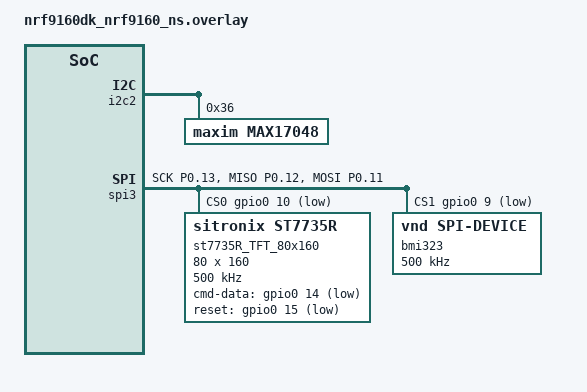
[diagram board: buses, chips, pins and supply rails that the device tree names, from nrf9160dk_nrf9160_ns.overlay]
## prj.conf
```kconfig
# MCUMGR dependencies
CONFIG_NET_BUF=y
CONFIG_ZCBOR=y

# MCU Manager
CONFIG_MCUMGR=y

# Dependencies for IMG and OS groups
CONFIG_STREAM_FLASH=y
CONFIG_FLASH=y
CONFIG_FLASH_MAP=y
CONFIG_IMG_MANAGER=y
CONFIG_BASE64=y

# dfu module dependencies
CONFIG_STREAM_FLASH_ERASE=y

# dfu module
CONFIG_DFU_TARGET=y
CONFIG_DFU_TARGET_MCUBOOT=y

# Test
CONFIG_IMG_MANAGER=y
CONFIG_BOOTLOADER_MCUBOOT=y
CONFIG_MCUBOOT_IMG_MANAGER=y
#CONFIG_IMG_BLOCK_BUF_SIZE=512

# Enable most core commands.
CONFIG_MCUMGR_GRP_IMG=y
CONFIG_MCUMGR_GRP_OS=y

# Enable the serial mcumgr transport.
CONFIG_MCUMGR_TRANSPORT_UART=y

# Some command handlers require a large stack.
CONFIG_SYSTEM_WORKQUEUE_STACK_SIZE=8192
CONFIG_LV_Z_MEM_POOL_NUMBER_BLOCKS=8
CONFIG_MAIN_STACK_SIZE=16384

# For diplay and sensor drivers
CONFIG_DISPLAY=y
CONFIG_SPI=y
CONFIG_ST7735R=y
CONFIG_FUEL_GAUGE=y

# For LVGL library
CONFIG_LVGL=y
CONFIG_LV_MEM_CUSTOM=y
CONFIG_LV_USE_LOG=y
CONFIG_LV_LOG_PRINTF=y
CONFIG_LV_LOG_LEVEL_ERROR=y
CONFIG_LV_USE_LABEL=y
CONFIG_LV_USE_BTN=y
CONFIG_LV_USE_IMG=y
CONFIG_LV_FONT_MONTSERRAT_14=y

CONFIG_LV_Z_BITS_PER_PIXEL=16
CONFIG_LV_COLOR_16_SWAP=y
```

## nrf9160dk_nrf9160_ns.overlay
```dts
/*
 * Overlay file for TD Viking Watch hardware 
 *  - BMI323 Inertial Measurement Unit sensor - Accelerometer and gyroscope
 *  - MAX17048 BAttery fuel gauge sensor
 *  - TFT screen with ST7735S chip
 *  - FT230x USB to UART chip
 */
 / {
	chosen {
		zephyr,display = &st7735R_TFT_80x160;
		maxim,max17048 = &max17048;
	};
 };
 

 &pinctrl {
	uart0_default: uart0_default {
		group1 {
			psels = <NRF_PSEL(UART_TX, 0, 6)>,
				<NRF_PSEL(UART_RTS, 0, 27)>;
		};
		group2 {
			psels = <NRF_PSEL(UART_RX, 0, 5)>,
				<NRF_PSEL(UART_CTS, 0, 26)>;
			bias-pull-up;
		};
	};

	uart0_sleep: uart0_sleep {
		group1 {
			psels = <NRF_PSEL(UART_TX, 0, 6)>,
				<NRF_PSEL(UART_RX, 0, 5)>,
				<NRF_PSEL(UART_RTS, 0, 27)>,
				<NRF_PSEL(UART_CTS, 0, 26)>;
			low-power-enable;
		};
	};

	uart1_default: uart1_default {
		group1 {
			psels = <NRF_PSEL(UART_TX, 0, 6)>,
				<NRF_PSEL(UART_RTS, 0, 14)>;
		};
		group2 {
			psels = <NRF_PSEL(UART_RX, 0, 5)>,
				<NRF_PSEL(UART_CTS, 0, 15)>;
			bias-pull-up;
		};
	};

	uart1_sleep: uart1_sleep {
		group1 {
			psels = <NRF_PSEL(UART_TX, 0, 6)>,
				<NRF_PSEL(UART_RX, 0, 5)>,
				<NRF_PSEL(UART_RTS, 0, 14)>,
				<NRF_PSEL(UART_CTS, 0, 15)>;
			low-power-enable;
		};
	};

	uart2_default: uart2_default {
		group1 {
			psels = <NRF_PSEL(UART_TX, 0, 6)>,
				<NRF_PSEL(UART_RX, 0, 5)>;
		};
	};

	uart2_sleep: uart2_sleep {
		group1 {
			psels = <NRF_PSEL(UART_TX, 0, 6)>,
				<NRF_PSEL(UART_RX, 0, 5)>;
			low-power-enable;
		};
	};

	spi3_default: spi3_default {
		group1 {
			psels = <NRF_PSEL(SPIM_SCK, 0, 13)>,
				<NRF_PSEL(SPIM_MISO, 0, 12)>,
				<NRF_PSEL(SPIM_MOSI, 0, 11)>;
		};
	};

	spi3_sleep: spi3_sleep {
		group1 {
			psels = <NRF_PSEL(SPIM_SCK, 0, 13)>,
				<NRF_PSEL(SPIM_MISO, 0, 12)>,
				<NRF_PSEL(SPIM_MOSI, 0, 11)>;
			low-power-enable;
		};
	};
 };


 &i2c2 {
	status = "okay";
	compatible = "nordic,nrf-twim";
	pinctrl-0 = <&i2c2_default>;
	pinctrl-1 = <&i2c2_sleep>;
	pinctrl-names = "default", "sleep";

	max17048: max17048@36 {
		compatible = "maxim,max17048";
		status = "ok";
		reg = <0x36 >;
	};
};

 &spi3{
	compatible = "nordic,nrf-spim";
	status = "okay";
	cs-gpios = <&gpio0 10 GPIO_ACTIVE_LOW>, <&gpio0 9 GPIO_ACTIVE_LOW>; // 10 is TFT, 9 is IMU.
	pinctrl-0 = <&spi3_default>;
	pinctrl-1 = <&spi3_sleep>;
	pinctrl-names = "default", "sleep";

	st7735R_TFT_80x160: spi_device_1@0 {
		compatible = "sitronix,st7735r";
		spi-max-frequency = <500000>;
		reg = <0>; // gives the first SPI CS line to use, gpio0 10 in this case.
		cmd-data-gpios = <&gpio0 14 GPIO_ACTIVE_LOW>;	
		reset-gpios = <&gpio0 15  GPIO_ACTIVE_LOW>;
		width = <80>;
		height = <160>;
		x-offset = <26>; 
		y-offset = <1>; 
		madctl = <0xC8>;
		colmod = <0x05>;
		caset = [00 00 00 4F];
		raset = [00 00 00 9F];
		vmctr1 = <0x0e>;
		invctr = <0x00>;
		pwctr1 = [a2 02 84];
		pwctr2 = [c5];
		pwctr3 = [0a 00];
		pwctr4 = [8a 2a];
		pwctr5 = [8a ee];
		frmctr1 = [01 2c 2d];
		frmctr2 = [01 2c 2d];
		frmctr3 = [01 2c 2d 01 2c 2d];
		gamctrp1 = [02 1c 07 12 37 32 29 2d 29 25 2b 39 00 01 03 10];
		gamctrn1 = [03 1d 07 06 2e 2c 29 2d 2e 2e 37 3f 00 00 02 10];
        inversion-on;
	};
	
	bmi323: spi_device_2@1 {
		compatible = "vnd,spi-device";
		reg = <1>; // gives the second SPI CS line to use, gpio0 9 in this case.
		spi-max-frequency = <500000>;
		label = "bmi323";
	};

};
```

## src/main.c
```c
/*
 * Copyright (c) 2018 Jan Van Winkel <jan.van_winkel@dxplore.eu>
 *
 * SPDX-License-Identifier: Apache-2.0
 */

#include <zephyr/device.h>
#include <zephyr/drivers/display.h>
#include <lvgl.h>
#include <stdio.h>
#include <string.h>
#include <zephyr/kernel.h> 
#include <zephyr/drivers/gpio.h>
#include <zephyr/logging/log.h>
#include <zephyr/drivers/uart.h>
#include <zephyr/drivers/spi.h>
#include <zephyr/drivers/fuel_gauge.h>
#include <string.h>
#include "max6921.c"

#define LOG_LEVEL CONFIG_LOG_DEFAULT_LEVEL

#define SLEEP_TIME_MS   1000
#define ENABLE_TFT 		4  // PWM and enable for TFT LEDs
//#define ENABLE_DISP 	27 // Enable pin, enables TFT and VFD 3.3 volt power for drivers.
#define STATUS_CHARGE 	8  // GPIO connected to charge status of BQxx charge IC
#define STATUS_PGOOD_BATTERY 	7 // GPIO connected to battery status of BQxx charge IC
#define NRF_LED 29 // LED on Viking PCB 

/* change this to any other UART peripheral if desired */
#define MSG_SIZE 32

static const struct spi_config spi_cfg = {
	.operation = SPI_OP_MODE_MASTER | SPI_WORD_SET(8) | SPI_LINES_SINGLE | SPI_TRANSFER_MSB,
}; 

const struct device * display_dev = DEVICE_DT_GET(DT_CHOSEN(zephyr_display));
const struct device * gpio_dev = DEVICE_DT_GET(DT_NODELABEL(gpio0));	
const struct spi_dt_spec spi_spec = SPI_DT_SPEC_GET(DT_NODELABEL(bmi323), spi_cfg.operation, 0);
const struct device *const i2c_dev = DEVICE_DT_GET(DT_CHOSEN(maxim_max17048));


// -------- FUNCTIONS ---------------------------------------------------------------------

void bmi323_read_reg(int addr, int *rx_buffer)
{	// input: 7-bit register to read, pointer to rx buffer
	uint8_t reg = 128 + addr;
	int err;
	uint8_t tx_buffer[4] = {reg,0,0,0}; // buffer that holds address to read. Only first bytes valid	
	
	const struct spi_buf tx_buf = {
		.buf = tx_buffer,
                .len = 4
	};
	const struct spi_buf_set tx = {
		.buffers = &tx_buf,
		.count = 1
	};


	struct spi_buf rx_buf = {
		.buf = rx_buffer,
		.len = 4	
	};
	const struct spi_buf_set rx = {
		.buffers = &rx_buf,
		.count = 1
	};

	err = spi_transceive_dt(&spi_spec, &tx, &rx);
	if (err){
                printk("error happening here\n");
        }
}

void bmi323_read_burst(int start_addr, int nbr_words, int *rx_buffer)
{	// start_addr: the start address to burst read
	// nbr_word: the number of words to read 
	int err;
	int nbr_bytes = (nbr_words * 2) + 2; // 2 bytes per word 

	uint8_t tx_buffer[nbr_bytes]; // buffer that holds address to read. Only first bytes valid	
	tx_buffer[0] = 128 + start_addr; // the MSB in the 8-bit address field need to be high to "read". 

	const struct spi_buf tx_buf = {
		.buf = tx_buffer,
                .len = nbr_bytes
	};
	const struct spi_buf_set tx = {
		.buffers = &tx_buf,
		.count = 1
	};


	struct spi_buf rx_buf = {
		.buf = rx_buffer,
		.len = nbr_bytes	
	};
	const struct spi_buf_set rx = {
		.buffers = &rx_buf,
		.count = 1
	};

	err = spi_transceive_dt(&spi_spec, &tx, &rx);
	if (err){
                printk("error happening here\n");
        }
}

void bmi323_write_reg(int addr, int *tx_buffer)
{	// input: 7-bit register to read, pointer to rx buffer
	int err;

	uint8_t rx_buffer[3] = {0,0,0}; // buffer for rx - discarded not used for write	
	
	const struct spi_buf tx_buf = {
		.buf = tx_buffer,
                .len = 3
	};
	const struct spi_buf_set tx = {
		.buffers = &tx_buf,
		.count = 1
	};


	struct spi_buf rx_buf = {
		.buf = rx_buffer,
		.len = 3	
	};
	const struct spi_buf_set rx = {
		.buffers = &rx_buf,
		.count = 1
	};

	err = spi_transceive_dt(&spi_spec, &tx, &rx);
	if (err){
                printk("error happening here\n");
        }
}


uint8_t rx_buffer[4] = {0,0,0,0}; // buffer that hold received data. Only two last bytes valid
uint8_t tx_buffer[3] = {0,0,0}; // buffer that hold transmit address and data to send
int16_t acc_x;
int16_t acc_y;
int16_t acc_z;
uint8_t rx_buffer_data[6+2]; // buffer that hold received data. Only two last bytes valid

struct fuel_gauge_get_property props[] = {
			{.property_type = FUEL_GAUGE_RUNTIME_TO_EMPTY,},
			{.property_type = FUEL_GAUGE_RUNTIME_TO_FULL,},
			{.property_type = FUEL_GAUGE_STATE_OF_CHARGE,},
			{.property_type = FUEL_GAUGE_VOLTAGE,}
		};

//------------------- MAIN LOOP ------------------------------------------------

void main(void)
{		
	k_sleep(K_MSEC(2000));

	// Initialize fuel gauge
	if (i2c_dev == NULL) {
		printk("\nError: no device found.\n");
		return 0;
	}

	if (!device_is_ready(i2c_dev)) {
		printk("\nError: Device \"%s\" is not ready; "
		       "check the driver initialization logs for errors.\n",
		       i2c_dev->name);
		return 0;
	}

	if (i2c_dev == NULL) {
		printk("Found device \"%s\", getting fuel gauge data\n", i2c_dev->name);
		return 0;
	}

	// Initialize BMI accelerometer sensor
	bmi323_read_reg(0x00, &rx_buffer); // Read Chip ID:
	bmi323_read_reg(0x01, &rx_buffer); // Check Power status, 0b0 = ok
	bmi323_read_reg(0x02, &rx_buffer); // sensor status 0b1 = ok, cleared after first read
	//printk("%d ",   rx_buffer[2]); // Data 7:0
	//printk("%d\n",  rx_buffer[3]); // Data 15:8
	k_sleep(K_MSEC(20)); // some delay for setup 
	uint8_t tx_buffer[3] = {0x20,0x27,0x31}; // set accelerometer 
	bmi323_write_reg(0x03, &tx_buffer);
	
	// VFD display initialization
	const struct device *VFD_dev;
	//VFD_dev = VFD_init();	

	// GPIO signals setup
	gpio_pin_configure(gpio_dev, ENABLE_TFT, GPIO_OUTPUT);  // TFT enable (PWM)
	gpio_pin_configure(gpio_dev, ENABLE_DISP, GPIO_OUTPUT);  // VFD enable
	gpio_pin_configure(gpio_dev, NRF_LED, GPIO_OUTPUT);  // LED enable
	gpio_pin_configure(gpio_dev, STATUS_CHARGE, GPIO_INPUT); 
	gpio_pin_configure(gpio_dev, STATUS_PGOOD_BATTERY , GPIO_INPUT); 
	gpio_pin_set(gpio_dev, ENABLE_TFT, 0); // Logic LOW enables 3.3v supply for LED in TFT display
	gpio_pin_set(gpio_dev, ENABLE_DISP, 0); // Logic LOW enables 3.3v supply TFT driver and VFD driver
	gpio_pin_set(gpio_dev, NRF_LED, 0);  // turn on LED

// -------------- STYLES Start ----------------------------------
	uint8_t	R = 0;
	uint8_t	G = 0;
	uint8_t	B = 0;
	lv_color_t custom_color = lv_color_make(R, G, B);
	
	lv_obj_set_style_bg_color(lv_scr_act(), custom_color, LV_PART_MAIN);
	lv_obj_set_style_text_color(lv_scr_act(), lv_color_hex(0xffffff), LV_PART_MAIN);

	static lv_style_t style;
	lv_style_init(&style);
	lv_style_set_bg_color(&style, custom_color);
	lv_style_set_border_width(&style, 0);

// -------------- STYLES end ----------------------------------

	lv_obj_t *bg;
	bg = lv_obj_create(lv_scr_act());
	lv_obj_set_size(bg, 80, 160);
	lv_obj_align(bg, LV_ALIGN_CENTER, 0, 0);
	lv_obj_add_style(bg, &style, LV_STATE_DEFAULT);	

	lv_obj_t *label1;
	label1 = lv_label_create(lv_scr_act());
	lv_label_set_recolor(label1, true); 
	lv_label_set_text(label1, "#ff0000 TOR#"); 
	lv_obj_align(label1, LV_ALIGN_CENTER, 0, -60);

	lv_obj_t *label2;
	label2 = lv_label_create(lv_scr_act());
	lv_label_set_recolor(label2, true);  
	lv_label_set_text(label2, "DESIGN");
	lv_obj_align(label2, LV_ALIGN_CENTER, 0, -45);

	lv_obj_t *label3;
	label3 = lv_label_create(lv_scr_act());
	lv_label_set_text(label3, LV_SYMBOL_BATTERY_3);
	lv_obj_align(label3, LV_ALIGN_CENTER, 0, 0);

	display_blanking_off(display_dev);

	lv_obj_t *label4;
	label4 = lv_label_create(lv_scr_act());
	lv_obj_align(label4, LV_ALIGN_BOTTOM_MID, 0, -60);

	lv_obj_t *label5;
	label5 = lv_label_create(lv_scr_act());
	lv_obj_align(label5, LV_ALIGN_BOTTOM_MID, 0, -45);
	
	lv_obj_t *label6;
	label6 = lv_label_create(lv_scr_act());
	lv_obj_align(label6, LV_ALIGN_BOTTOM_MID, 0, -30);

	lv_obj_t *label7;
	label7 = lv_label_create(lv_scr_act());
	lv_obj_align(label7, LV_ALIGN_BOTTOM_MID, 0, -15);

	lv_obj_t *label8;
	label8 = lv_label_create(lv_scr_act());
	lv_obj_align(label8, LV_ALIGN_BOTTOM_MID, 0, 0);

	lv_obj_t *label9;
	label9 = lv_label_create(lv_scr_act());
	lv_obj_align(label9, LV_ALIGN_CENTER, 0, -15);

	char x_buf[16];
	char y_buf[16];
	char z_buf[16];
	char p_good[16];
	char b_good[16];
	char voltage_buf[16];

	int ret = 0;

	while (1) {
		
		k_sleep(K_MSEC(2000));
		gpio_pin_set(gpio_dev, NRF_LED, 1); // turn on LED
		k_sleep(K_MSEC(100));
		gpio_pin_set(gpio_dev, NRF_LED, 0);  // turn off LED

		ret = fuel_gauge_get_prop(i2c_dev, props, ARRAY_SIZE(props));
		int bat_voltage;
		if (ret < 0) {
			printk("Error: cannot get properties\n");
		} else {
			if (ret != 0) {
				printk("Warning: Some properties failed\n");
			}

			if (props[3].status == 0) {
				bat_voltage = props[3].value.voltage;
				printk("Voltage %d\n", bat_voltage);
			} else {
				printk(
				"Property FUEL_GAUGE_VOLTAGE failed with error %d\n",
				props[3].status
				);
			}
		}
		snprintf(voltage_buf, 16, "%d volt", bat_voltage);
		lv_label_set_text(label9, voltage_buf);
		
		bmi323_read_burst(0x03, 3,  &rx_buffer_data);
		acc_x = (((rx_buffer_data[3]) << 8) | (rx_buffer_data[2])); // left shift MSByte and OR with LSB to form 16-bit value
		acc_y = (((rx_buffer_data[5]) << 8) | (rx_buffer_data[4])); // left shift MSByte and OR with LSB to form 16-bit value
		acc_z = (((rx_buffer_data[7]) << 8) | (rx_buffer_data[6])); // left shift MSByte and OR with LSB to form 16-bit value
		snprintf(x_buf, 16, "x: %d", acc_x);
		snprintf(y_buf, 16, "y: %d", acc_y);
		snprintf(z_buf, 16, "z: %d", acc_z);
		lv_label_set_text(label4, x_buf);
		lv_label_set_text(label5, y_buf);
		lv_label_set_text(label6, z_buf);

		int16_t power_good = gpio_pin_get_raw(gpio_dev, STATUS_PGOOD_BATTERY); // 0 indicates valid external power source connected, 1 = no power source
		int16_t bat_charging = gpio_pin_get_raw(gpio_dev, STATUS_CHARGE); // 0 indicates battery charging, 1 = no charging taking place

		//printk("External power:%d,", power_good);
		//printk("Charging:%d,", bat_charging);

		snprintf(b_good, 16, "Charge: %d", bat_charging);
		snprintf(p_good, 16, "Power: %d", power_good); 
		lv_label_set_text(label7, b_good);
		lv_label_set_text(label8, p_good);

		lv_task_handler();	
	}
}
```

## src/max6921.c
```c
// Autohor: Tor Kaufmann Gjerde

/*
Driver for the MAX6921 Vacuum Florecent Display Driver IC 
Used in the Viking hardware configuration.

9 first bits MSBs in the array represent the segments in one tube, 
next 9 bits represents the segments in the second VFD tube.
Mapping of VFD segments to data array --> 
[grid, dot, 6, 4, 3, 13, 10, 11, 14, grid, dot, 6, 4, 3, 13, 10, 11, 14, 0, 0]

The two last bits are not used in HW and should always be set to zero.
LSB of the data array is clocked in last over the SPI bus and ends up as the MSBs (OUT1 and OUT2)
in the shift register.

*/

#include <zephyr/device.h>
#include <zephyr/drivers/gpio.h>
#include "max6921.h"



// ---- Prototype functions ----------------------------------------
const struct device * VFD_init(void);
int VFD_disp(const struct device *dev, int vfd1, int vfd2);
int disp_VFD_20_bit(const struct device *dev, int data_array[20]);
// -----------------------------------------------------------------



// function to Initialize the MAX6921 
const struct device * VFD_init(void){

	const struct device *gpio_dev;
	gpio_dev = DEVICE_DT_GET(DT_NODELABEL(gpio0));
	
	gpio_pin_configure(gpio_dev, ENABLE_DISP, GPIO_OUTPUT); // enable 3.3v power for max driver (and TFT driver)
	gpio_pin_configure(gpio_dev, ENABLE_HV, GPIO_OUTPUT);  // ENABLE HV
    gpio_pin_configure(gpio_dev, CLOCK, GPIO_OUTPUT);  // CLOCK
	gpio_pin_configure(gpio_dev, LOAD, GPIO_OUTPUT);  // LOAD
	gpio_pin_configure(gpio_dev, DATA, GPIO_OUTPUT);  // DATA
	gpio_pin_configure(gpio_dev, BLANK, GPIO_OUTPUT);  // BLANK

	return gpio_dev;
}

/*
VFD_off(void){
	Disable High Voltage and Low voltage supplies. Hardware should be updated with a switch to turn off rail to MAX6921 Driver
	Set data array to zero and send to driver 
}

int VFD_disp_seg(){

}
*/


int VFD_disp(const struct device *VFD_dev, int vfd1, int vfd2){
// [grid, dot, 6, 4, 3, 13, 10, 11, 14, grid, dot, 6, 4, 3, 13, 10, 11, 14, 0, 0]
    //following 9-bit data arrays produce integers 1-9:

	int bit_map[10][10] = {
		{1, 0, 1, 1, 1, 0, 1, 1, 1},   // number 0, row 1
   		{1, 0, 1, 0, 0, 0, 1, 0, 0},   // number 1, row 2  
   		{1, 0, 0, 1, 1, 1, 1, 1, 0},   // number 2, row 3 etc.
   		{1, 0, 1, 1, 0, 1, 1, 1, 0},   // number 3
   		{1, 0, 1, 0, 0, 1, 1, 0, 1},   // number 4
   		{1, 0, 1, 1, 0, 1, 0, 1, 1},   // number 5
   		{1, 0, 1, 1, 1, 1, 0, 1, 1},   // number 6
   		{1, 0, 1, 0, 0, 0, 1, 1, 0},   // number 7
   		{1, 0, 1, 1, 1, 1, 1, 1, 1},   // number 8
   		{1, 0, 1, 0, 0, 1, 1, 1, 1}     // number 9
		};

	int bit_array[20] = {0,0,0,0,0,0,0,0,0,0,
						 0,0,0,0,0,0,0,0,0,0 
						};
	
	int i = 0;
	int cnt = 0;
	while(cnt<18){
		// 18 as the last to bits in the array is not used  and remains zero
		if(i > 8){
			i = 0;
		}
		if(cnt < 9){
			bit_array[cnt] = bit_map[vfd1][i];
		}
		if(cnt > 8){
			bit_array[cnt] = bit_map[vfd2][i];
		};
		i++; 
		cnt++;		
	}
	//send the 20-bit array to max6921 
	int ret = disp_VFD_20_bit(VFD_dev, bit_array);
	return ret;
} 	



// Bit-bang function for 20-bit data transfer
int disp_VFD_20_bit(const struct device *gpio_dev, int data_array[20]) {
	
	gpio_pin_set(gpio_dev, ENABLE_DISP, 0); // Logic LOW enable voltage 3.3v supply for MAX driver (also enables 3.3v to TFT)
	gpio_pin_set(gpio_dev, ENABLE_HV, 1); // Logic HIGH enable voltage supply
	gpio_pin_set(gpio_dev, BLANK, 0); // set blank low for enable driver output
	gpio_pin_set(gpio_dev, LOAD, 1); // LOAD register with falling edge on LOAD

	for(int i = 0; i < 20; i++){
		// bitbang bit array
		gpio_pin_set(gpio_dev, CLOCK, 0); // set clk low
		gpio_pin_set(gpio_dev, DATA, data_array[i]); // set data pin from data array
		gpio_pin_set(gpio_dev, CLOCK, 1); // set clk high
	}
	gpio_pin_set(gpio_dev, CLOCK, 0); // set clk line low again until next transfer is initiated
	gpio_pin_set(gpio_dev, LOAD, 0); // LOAD register with falling edge on LOAD

	return 0;
}
```

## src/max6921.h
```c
#define CLOCK 21
#define LOAD 22
#define BLANK 23
#define DATA 24
#define ENABLE_HV 25
#define ENABLE_DISP 27
```
